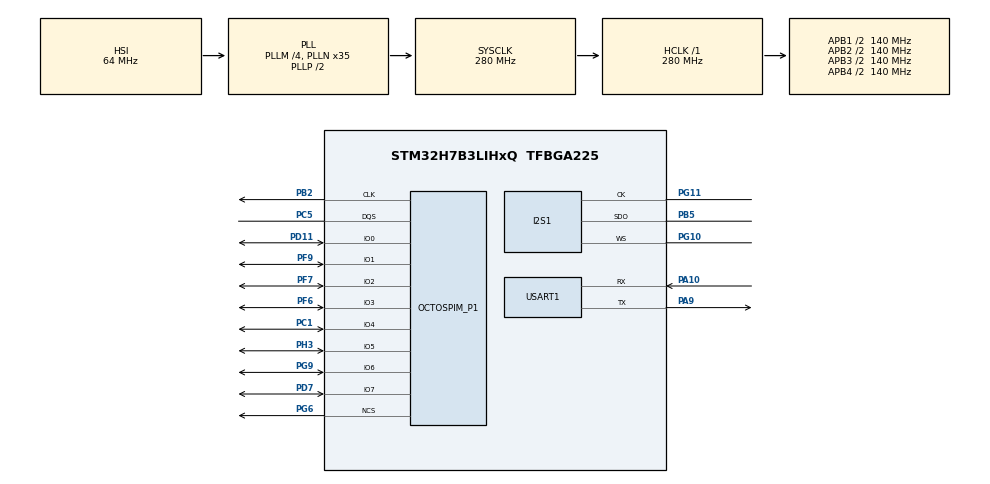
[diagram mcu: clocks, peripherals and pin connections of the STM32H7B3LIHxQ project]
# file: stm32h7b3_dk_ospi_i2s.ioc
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CORTEX_M7.default_mode_Activation=1
Dma.MEMTOMEM.0.Direction=DMA_MEMORY_TO_MEMORY
Dma.MEMTOMEM.0.EventEnable=DISABLE
Dma.MEMTOMEM.0.FIFOMode=DMA_FIFOMODE_ENABLE
Dma.MEMTOMEM.0.FIFOThreshold=DMA_FIFO_THRESHOLD_FULL
Dma.MEMTOMEM.0.Instance=DMA1_Stream0
Dma.MEMTOMEM.0.MemBurst=DMA_MBURST_SINGLE
Dma.MEMTOMEM.0.MemDataAlignment=DMA_MDATAALIGN_WORD
Dma.MEMTOMEM.0.MemInc=DMA_MINC_ENABLE
Dma.MEMTOMEM.0.Mode=DMA_NORMAL
Dma.MEMTOMEM.0.PeriphBurst=DMA_PBURST_SINGLE
Dma.MEMTOMEM.0.PeriphDataAlignment=DMA_PDATAALIGN_WORD
Dma.MEMTOMEM.0.PeriphInc=DMA_PINC_ENABLE
Dma.MEMTOMEM.0.Polarity=HAL_DMAMUX_REQ_GEN_RISING
Dma.MEMTOMEM.0.Priority=DMA_PRIORITY_LOW
Dma.MEMTOMEM.0.RequestNumber=1
Dma.MEMTOMEM.0.SignalID=NONE
Dma.MEMTOMEM.0.SyncEnable=DISABLE
Dma.MEMTOMEM.0.SyncPolarity=HAL_DMAMUX_SYNC_NO_EVENT
Dma.MEMTOMEM.0.SyncRequestNumber=1
Dma.MEMTOMEM.0.SyncSignalID=NONE
Dma.Request0=MEMTOMEM
Dma.Request1=SPI1_TX
Dma.SPI1_TX.1.Direction=DMA_MEMORY_TO_PERIPH
Dma.SPI1_TX.1.EventEnable=DISABLE
Dma.SPI1_TX.1.FIFOMode=DMA_FIFOMODE_DISABLE
Dma.SPI1_TX.1.Instance=DMA1_Stream1
Dma.SPI1_TX.1.MemDataAlignment=DMA_MDATAALIGN_HALFWORD
Dma.SPI1_TX.1.MemInc=DMA_MINC_ENABLE
Dma.SPI1_TX.1.Mode=DMA_CIRCULAR
Dma.SPI1_TX.1.PeriphDataAlignment=DMA_PDATAALIGN_HALFWORD
Dma.SPI1_TX.1.PeriphInc=DMA_PINC_DISABLE
Dma.SPI1_TX.1.Polarity=HAL_DMAMUX_REQ_GEN_RISING
Dma.SPI1_TX.1.Priority=DMA_PRIORITY_LOW
Dma.SPI1_TX.1.RequestNumber=1
Dma.SPI1_TX.1.SignalID=NONE
Dma.SPI1_TX.1.SyncEnable=DISABLE
Dma.SPI1_TX.1.SyncPolarity=HAL_DMAMUX_SYNC_NO_EVENT
Dma.SPI1_TX.1.SyncRequestNumber=1
Dma.SPI1_TX.1.SyncSignalID=NONE
I2S1.AudioFreq=I2S_AUDIOFREQ_16K
I2S1.DataFormat=I2S_DATAFORMAT_16B
I2S1.ErrorAudioFreq=0.0 %
I2S1.Instance=SPI$Index
I2S1.RealAudioFreq=16.0 KHz
Mcu.Family=STM32H7
Mcu.Name=STM32H7B3LIHxQ
Mcu.Package=TFBGA225
NVIC.DMA1_Stream1_IRQn=true\:0\:0\:false\:false\:true\:false\:true\:true
NVIC.OCTOSPI1_IRQn=true\:0\:0\:false\:false\:true\:true\:true\:true
NVIC.PriorityGroup=NVIC_PRIORITYGROUP_4
OCTOSPI1.ChipSelectHighTime=2
OCTOSPI1.ClockPrescaler=4
OCTOSPI1.DelayBlockBypass=HAL_OSPI_DELAY_BLOCK_USED
OCTOSPI1.DelayHoldQuarterCycle=HAL_OSPI_DHQC_ENABLE
OCTOSPI1.DeviceSize=26
OCTOSPI1.FifoThreshold=4
OCTOSPI1.MemoryType=HAL_OSPI_MEMTYPE_MACRONIX
PA10.Mode=Asynchronous
PA10.Signal=USART1_RX
PA9.Mode=Asynchronous
PA9.Signal=USART1_TX
PB2.Mode=O1_P1_CLK
PB2.Signal=OCTOSPIM_P1_CLK
PB5.Mode=Half_Duplex_Master_Tx
PB5.Signal=I2S1_SDO
PC1.Mode=OCTOSPI1_IOH_Port1H
PC1.Signal=OCTOSPIM_P1_IO4
PC14-OSC32_IN.Mode=LSE-External-Oscillator
PC14-OSC32_IN.Signal=RCC_OSC32_IN
PC15-OSC32_OUT.Mode=LSE-External-Oscillator
PC15-OSC32_OUT.Signal=RCC_OSC32_OUT
PC5.Mode=OCTOSPI1_Port1_DQS
PC5.Signal=OCTOSPIM_P1_DQS
PD11.Mode=OCTOSPI1_IOL_Port1L
PD11.Signal=OCTOSPIM_P1_IO0
PD7.Mode=OCTOSPI1_IOH_Port1H
PD7.Signal=OCTOSPIM_P1_IO7
PF6.Mode=OCTOSPI1_IOL_Port1L
PF6.Signal=OCTOSPIM_P1_IO3
PF7.Mode=OCTOSPI1_IOL_Port1L
PF7.Signal=OCTOSPIM_P1_IO2
PF9.Mode=OCTOSPI1_IOL_Port1L
PF9.Signal=OCTOSPIM_P1_IO1
PG10.Mode=Half_Duplex_Master_Tx
PG10.Signal=I2S1_WS
PG11.Mode=Half_Duplex_Master_Tx
PG11.Signal=I2S1_CK
PG6.GPIO_PuPd=GPIO_PULLUP
PG6.Mode=OCTOSPI1_Port1_NCS
PG6.Signal=OCTOSPIM_P1_NCS
PG9.Mode=OCTOSPI1_IOH_Port1H
PG9.Signal=OCTOSPIM_P1_IO6
PH0-OSC_IN.Mode=HSE-External-Oscillator
PH0-OSC_IN.Signal=RCC_OSC_IN
PH1-OSC_OUT.Mode=HSE-External-Oscillator
PH1-OSC_OUT.Signal=RCC_OSC_OUT
PH3.Mode=OCTOSPI1_IOH_Port1H
PH3.Signal=OCTOSPIM_P1_IO5
ProjectManager.HeapSize=0x200
ProjectManager.StackSize=0x400
ProjectManager.TargetToolchain=STM32CubeIDE
RCC.ADCFreq_Value=128000000
RCC.APB1Freq_Value=140000000
RCC.APB2Freq_Value=140000000
RCC.APB3Freq_Value=140000000
RCC.APB4Freq_Value=140000000
RCC.CDPPRE=RCC_APB3_DIV2
RCC.CDPPRE1=RCC_APB1_DIV2
RCC.CDPPRE2=RCC_APB2_DIV2
RCC.CKPERSourceSelection=RCC_CLKPSOURCE_HSE
RCC.CortexFreq_Value=280000000
RCC.DIVM1=4
RCC.DIVM2=4
RCC.DIVN1=35
RCC.DIVN2=8
RCC.DIVP2=1
RCC.HCLKFreq_Value=280000000
RCC.PLL2FRACN=0
RCC.PLL3FRACN=0
RCC.PLLFRACN=0
RCC.SPI123CLockSelection=RCC_SPI123CLKSOURCE_PLL2
RCC.SRDPPRE=RCC_APB4_DIV2
RCC.SYSCLKFreq_VALUE=280000000
RCC.SYSCLKSource=RCC_SYSCLKSOURCE_PLLCLK
RCC.USBFreq_Value=280000000
USART1.VirtualMode-Asynchronous=VM_ASYNC
VP_OCTOSPI1_VS_octo.Mode=octo_mode
board=custom

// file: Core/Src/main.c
/* USER CODE BEGIN Header */
/**
  ******************************************************************************
  * @file           : main.c
  * @brief          : Main program body
  ******************************************************************************
  * @attention
  *
  * Copyright (c) 2022 STMicroelectronics.
  * All rights reserved.
  *
  * This software is licensed under terms that can be found in the LICENSE file
  * in the root directory of this software component.
  * If no LICENSE file comes with this software, it is provided AS-IS.
  *
  ******************************************************************************
  */
/* USER CODE END Header */
#include "main.h"
#include "dma.h"
#include "i2s.h"
#include "octospi.h"
#include "usart.h"
#include "gpio.h"

/* USER CODE BEGIN Includes */
#include <stdio.h>
#include <string.h>
#include <stdlib.h>
/* USER CODE END Includes */

void SystemClock_Config(void);
static void MPU_Config(void);

/* USER CODE BEGIN 0 */
#define DMA_LENGTH_NUM  20

uint32_t rx_buf[20];
uint32_t rx_buf2[20];

__attribute__((__section__(".user_data_ram ")))
uint32_t var_ram_axi[DMA_LENGTH_NUM] = {0,};
__attribute__((__section__(".user_data_ram_cd ")))
uint32_t var_ram_sram1[DMA_LENGTH_NUM] = {0,};
__attribute__((__section__(".user_data_srd ")))
uint32_t var_ram_sram4[DMA_LENGTH_NUM] = {0,};

uint32_t i2s_txcplt_flag = 0;
void HAL_I2S_TxCpltCallback(I2S_HandleTypeDef *hi2s)
{
  i2s_txcplt_flag = 1;
}

/* USER CODE END 0 */

int main(void)
{

  /* MPU Configuration--------------------------------------------------------*/
  MPU_Config();

  /* MCU Configuration--------------------------------------------------------*/

  /* Reset of all peripherals, Initializes the Flash interface and the Systick. */
  HAL_Init();

  /* Configure the system clock */
  SystemClock_Config();

  /* Initialize all configured peripherals */
  MX_GPIO_Init();
  MX_OCTOSPI1_Init();
  MX_DMA_Init();
  MX_USART1_UART_Init();
  MX_I2S1_Init();
  /* USER CODE BEGIN 2 */
  printf("H7B3 Start!!\r\n");

  memset(var_ram_axi,0x01,DMA_LENGTH_NUM*sizeof(uint32_t));
  memset(var_ram_sram1,0x02,DMA_LENGTH_NUM*sizeof(uint32_t));
  memset(var_ram_sram4,0x03,DMA_LENGTH_NUM*sizeof(uint32_t));

#if 0
  //HAL_DMA_Start(&hdma_memtomem_dma1_stream0, (uint32_t)(var_ram_axi), (uint32_t)var_ram_sram1, 20);
  HAL_DMA_Start(&hdma_memtomem_dma1_stream0, (uint32_t)(0x90000000), (uint32_t)var_ram_sram1, 20);
  HAL_DMA_Start(&hdma_memtomem_dma1_stream0, (uint32_t)(var_ram_axi), (uint32_t)var_ram_sram1, 20);

  for(int i = 0; i<10; i++)
  {
    rx_buf2[i] = *((uint32_t*)(0x90000000) + i );
  }
#endif

  //WRITE_REG(SPI1->CFG1,SPI_CFG1_FTHLV_3 );
  HAL_I2S_Transmit_DMA(&hi2s1, (uint16_t*)(0x90000000), 100);
  HAL_Delay(10);

  /* USER CODE END 2 */

  /* Infinite loop */
  /* USER CODE BEGIN WHILE */
  while (1)
  {
    if (i2s_txcplt_flag == 1)
    {
      i2s_txcplt_flag = 0;
      HAL_I2S_Transmit_DMA(&hi2s1, (uint16_t*)(0x90000000), 100);
      HAL_Delay(100);
      printf("I2S Transmit!!\r\n");
    }
    /* USER CODE END WHILE */

  }
}

void SystemClock_Config(void)
{
  RCC_OscInitTypeDef RCC_OscInitStruct = {0};
  RCC_ClkInitTypeDef RCC_ClkInitStruct = {0};

  /*AXI clock gating */
  RCC->CKGAENR = 0xFFFFFFFF;

  /** Supply configuration update enable
  */
  HAL_PWREx_ConfigSupply(PWR_DIRECT_SMPS_SUPPLY);

  /** Configure the main internal regulator output voltage
  */
  __HAL_PWR_VOLTAGESCALING_CONFIG(PWR_REGULATOR_VOLTAGE_SCALE0);

  while(!__HAL_PWR_GET_FLAG(PWR_FLAG_VOSRDY)) {}

  /** Macro to configure the PLL clock source
  */
  __HAL_RCC_PLL_PLLSOURCE_CONFIG(RCC_PLLSOURCE_HSI);

  /** Initializes the RCC Oscillators according to the specified parameters
  * in the RCC_OscInitTypeDef structure.
  */
  RCC_OscInitStruct.OscillatorType = RCC_OSCILLATORTYPE_HSI;
  RCC_OscInitStruct.HSIState = RCC_HSI_DIV1;
  RCC_OscInitStruct.HSICalibrationValue = RCC_HSICALIBRATION_DEFAULT;
  RCC_OscInitStruct.PLL.PLLState = RCC_PLL_ON;
  RCC_OscInitStruct.PLL.PLLSource = RCC_PLLSOURCE_HSI;
  RCC_OscInitStruct.PLL.PLLM = 4;
  RCC_OscInitStruct.PLL.PLLN = 35;
  RCC_OscInitStruct.PLL.PLLP = 2;
  RCC_OscInitStruct.PLL.PLLQ = 2;
  RCC_OscInitStruct.PLL.PLLR = 2;
  RCC_OscInitStruct.PLL.PLLRGE = RCC_PLL1VCIRANGE_3;
  RCC_OscInitStruct.PLL.PLLVCOSEL = RCC_PLL1VCOWIDE;
  RCC_OscInitStruct.PLL.PLLFRACN = 0;
  if (HAL_RCC_OscConfig(&RCC_OscInitStruct) != HAL_OK)
  {
    Error_Handler();
  }

  /** Initializes the CPU, AHB and APB buses clocks
  */
  RCC_ClkInitStruct.ClockType = RCC_CLOCKTYPE_HCLK|RCC_CLOCKTYPE_SYSCLK
                              |RCC_CLOCKTYPE_PCLK1|RCC_CLOCKTYPE_PCLK2
                              |RCC_CLOCKTYPE_D3PCLK1|RCC_CLOCKTYPE_D1PCLK1;
  RCC_ClkInitStruct.SYSCLKSource = RCC_SYSCLKSOURCE_PLLCLK;
  RCC_ClkInitStruct.SYSCLKDivider = RCC_SYSCLK_DIV1;
  RCC_ClkInitStruct.AHBCLKDivider = RCC_HCLK_DIV1;
  RCC_ClkInitStruct.APB3CLKDivider = RCC_APB3_DIV2;
  RCC_ClkInitStruct.APB1CLKDivider = RCC_APB1_DIV2;
  RCC_ClkInitStruct.APB2CLKDivider = RCC_APB2_DIV2;
  RCC_ClkInitStruct.APB4CLKDivider = RCC_APB4_DIV2;

  if (HAL_RCC_ClockConfig(&RCC_ClkInitStruct, FLASH_LATENCY_7) != HAL_OK)
  {
    Error_Handler();
  }
}

/* MPU Configuration */

void MPU_Config(void)
{
  MPU_Region_InitTypeDef MPU_InitStruct = {0};

  /* Disables the MPU */
  HAL_MPU_Disable();

  /** Initializes and configures the Region and the memory to be protected
  */
  MPU_InitStruct.Enable = MPU_REGION_ENABLE;
  MPU_InitStruct.Number = MPU_REGION_NUMBER0;
  MPU_InitStruct.BaseAddress = 0x0;
  MPU_InitStruct.Size = MPU_REGION_SIZE_4GB;
  MPU_InitStruct.SubRegionDisable = 0x87;
  MPU_InitStruct.TypeExtField = MPU_TEX_LEVEL0;
  MPU_InitStruct.AccessPermission = MPU_REGION_NO_ACCESS;
  MPU_InitStruct.DisableExec = MPU_INSTRUCTION_ACCESS_DISABLE;
  MPU_InitStruct.IsShareable = MPU_ACCESS_SHAREABLE;
  MPU_InitStruct.IsCacheable = MPU_ACCESS_NOT_CACHEABLE;
  MPU_InitStruct.IsBufferable = MPU_ACCESS_NOT_BUFFERABLE;

  HAL_MPU_ConfigRegion(&MPU_InitStruct);
  /* Enables the MPU */
  HAL_MPU_Enable(MPU_PRIVILEGED_DEFAULT);

}

void Error_Handler(void)
{
  __disable_irq();
  while (1)
  {
  }
}
